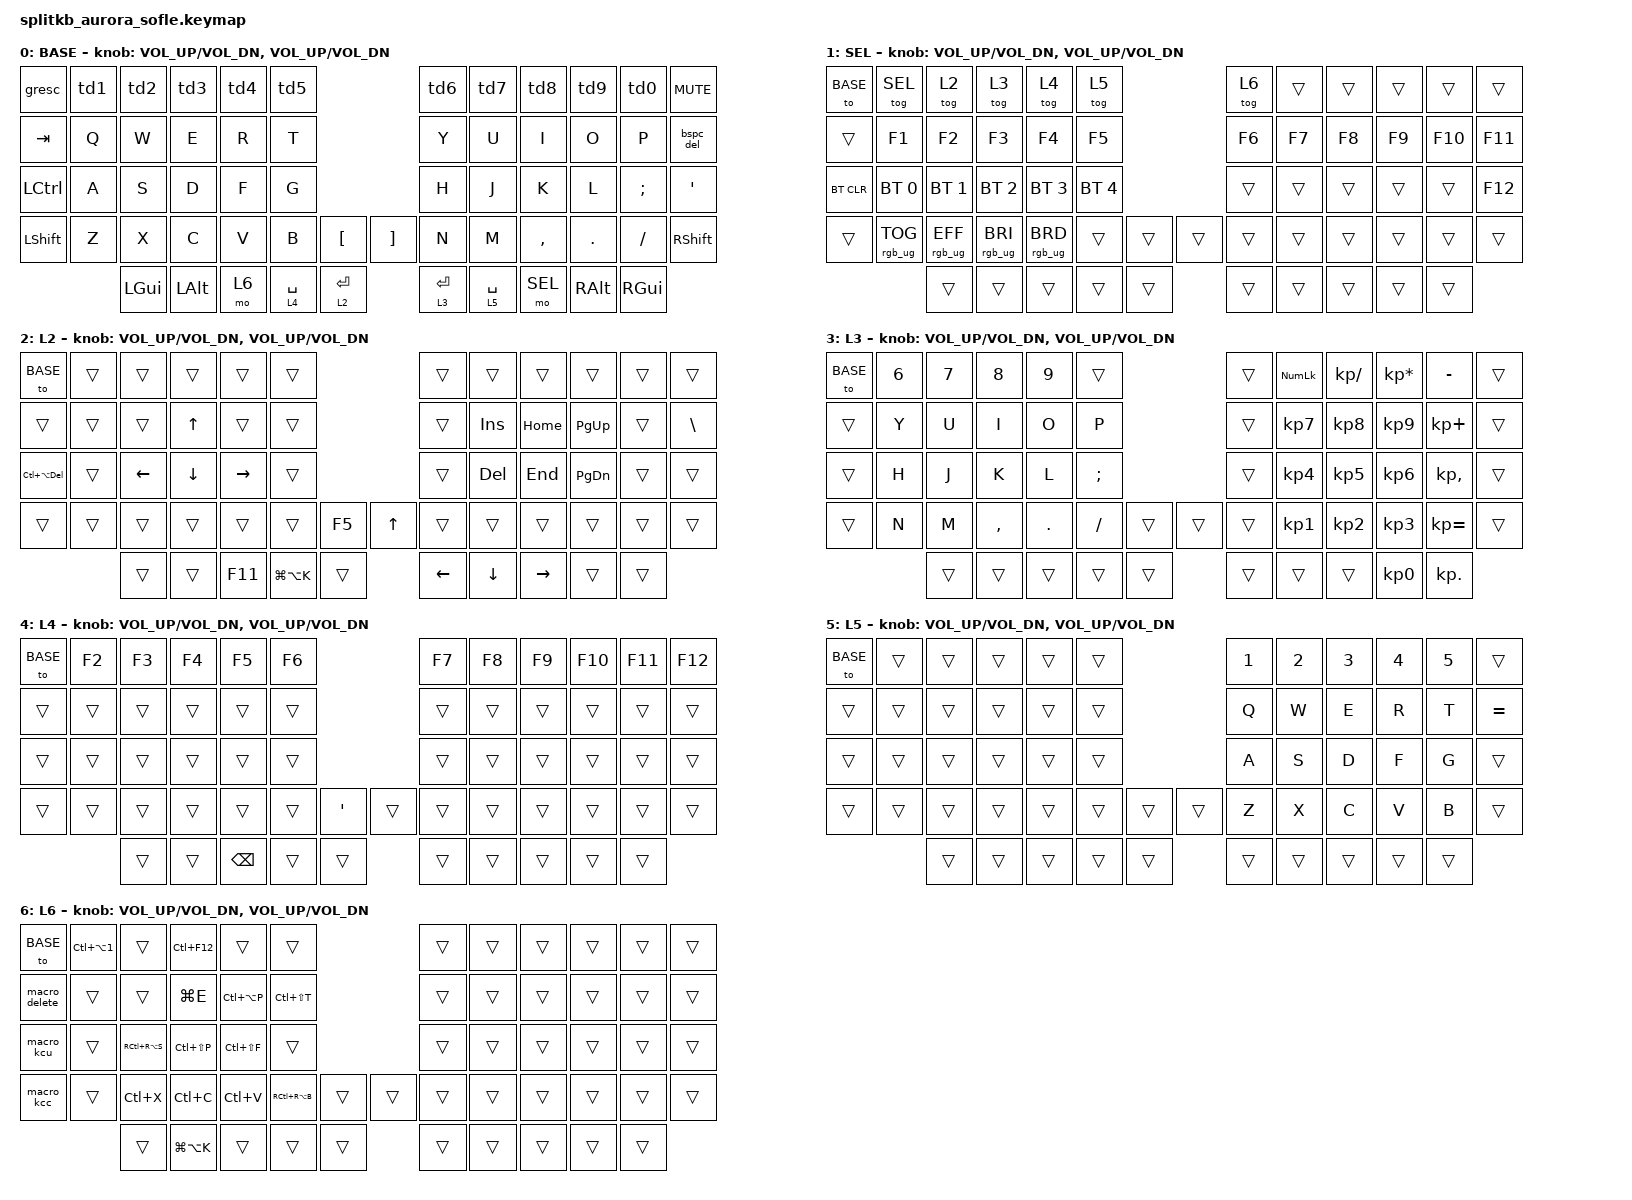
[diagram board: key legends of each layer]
/*
 * Copyright (c) 2023 The ZMK Contributors
 *
 * SPDX-License-Identifier: MIT
 *
 * splitkb.com Aurora Sofle - 7 layers, ported from the Elora Vial keymap.
 *
 * Thumb keys (outer to inner):
 *   left:  GUI  ALT  L6 (macros)  L4 (hold) / SPACE (tap)  L2 (hold) / ENTER (tap)
 *   right: L3 (hold) / ENTER (tap)  L5 (hold) / SPACE (tap)  SEL  RALT  RGUI
 *
 * Layers:
 *   L2 nav (ESDF arrows, home/end/page), L3 numpad + mirrored right-hand letters,
 *   L4 F-keys, L5 mirrored left-hand letters on the right hand, L6 macros/shortcuts.
 *   SEL (hold the right SEL thumb) holds BT profiles, RGB, F-keys, and &tog keys
 *   for L2-L6. Every non-base layer has &to BASE on its top-left key.
 *
 * Not ported: mouse buttons/accel and pointer overrides (no pointing device),
 * tap-dance shift/caps, encoder key overrides, extra bottom-row keys.
 */

#include <behaviors.dtsi>
#include <dt-bindings/zmk/keys.h>
#include <dt-bindings/zmk/bt.h>
#include <dt-bindings/zmk/ext_power.h>
#include <dt-bindings/zmk/rgb.h>

#define BASE 0
#define SEL  1
#define L2   2
#define L3   3
#define L4   4
#define L5   5
#define L6   6

/* Underglow LED chain length (per-key LEDs only). */
&led_strip {
    // chain-length = <6>;
    // chain-length = <35>; // Uncomment if using both per-key and underglow LEDs
    chain-length = <29>; // Uncomment if using only per-key LEDs.
};

/ {
    behaviors {
        td0: td_digit_0 { compatible = "zmk,behavior-tap-dance"; #binding-cells = <0>; tapping-term-ms = <200>; bindings = <&kp N0>, <&kp LS(N0)>; };
        td1: td_digit_1 { compatible = "zmk,behavior-tap-dance"; #binding-cells = <0>; tapping-term-ms = <200>; bindings = <&kp N1>, <&kp LS(N1)>; };
        td2: td_digit_2 { compatible = "zmk,behavior-tap-dance"; #binding-cells = <0>; tapping-term-ms = <200>; bindings = <&kp N2>, <&kp LS(N2)>; };
        td3: td_digit_3 { compatible = "zmk,behavior-tap-dance"; #binding-cells = <0>; tapping-term-ms = <200>; bindings = <&kp N3>, <&kp LS(N3)>; };
        td4: td_digit_4 { compatible = "zmk,behavior-tap-dance"; #binding-cells = <0>; tapping-term-ms = <200>; bindings = <&kp N4>, <&kp LS(N4)>; };
        td5: td_digit_5 { compatible = "zmk,behavior-tap-dance"; #binding-cells = <0>; tapping-term-ms = <200>; bindings = <&kp N5>, <&kp LS(N5)>; };
        td6: td_digit_6 { compatible = "zmk,behavior-tap-dance"; #binding-cells = <0>; tapping-term-ms = <200>; bindings = <&kp N6>, <&kp LS(N6)>; };
        td7: td_digit_7 { compatible = "zmk,behavior-tap-dance"; #binding-cells = <0>; tapping-term-ms = <200>; bindings = <&kp N7>, <&kp LS(N7)>; };
        td8: td_digit_8 { compatible = "zmk,behavior-tap-dance"; #binding-cells = <0>; tapping-term-ms = <200>; bindings = <&kp N8>, <&kp LS(N8)>; };
        td9: td_digit_9 { compatible = "zmk,behavior-tap-dance"; #binding-cells = <0>; tapping-term-ms = <200>; bindings = <&kp N9>, <&kp LS(N9)>; };

        bspc_del: bspc_del {
            compatible = "zmk,behavior-mod-morph";
            #binding-cells = <0>;
            bindings = <&kp BSPC>, <&kp DEL>;
            mods = <(MOD_LSFT|MOD_RSFT)>;
        };
    };

    macros {
        macro_select: macro_select {
            compatible = "zmk,behavior-macro";
            #binding-cells = <0>;
            wait-ms = <0>;
            tap-ms = <5>;
            bindings = <&macro_press &kp LSHFT>, <&macro_tap &kp S &kp E &kp L &kp E &kp C &kp T>, <&macro_release &kp LSHFT>, <&macro_tap &kp RET &kp LS(N8) &kp RET>, <&macro_press &kp LSHFT>, <&macro_tap &kp F &kp R &kp O &kp M>, <&macro_release &kp LSHFT>;
        };

        macro_delete: macro_delete {
            compatible = "zmk,behavior-macro";
            #binding-cells = <0>;
            wait-ms = <0>;
            tap-ms = <5>;
            bindings = <&macro_press &kp LSHFT>, <&macro_tap &kp D &kp E &kp L &kp E &kp T &kp E>, <&macro_release &kp LSHFT>, <&macro_tap &kp SPACE>;
        };

        macro_kcc: macro_kcc {
            compatible = "zmk,behavior-macro";
            #binding-cells = <0>;
            wait-ms = <50>;
            tap-ms = <50>;
            bindings = <&macro_press &kp LCTRL>, <&macro_tap &kp K &kp C>, <&macro_release &kp LCTRL>;
        };

        macro_kcu: macro_kcu {
            compatible = "zmk,behavior-macro";
            #binding-cells = <0>;
            wait-ms = <50>;
            tap-ms = <50>;
            bindings = <&macro_press &kp LCTRL>, <&macro_tap &kp K &kp U>, <&macro_release &kp LCTRL>;
        };
    };
};

/ {
    keymap {
        compatible = "zmk,keymap";

        base_layer {
            display-name = "BASE";
// ------------------------------------------------------------------------------------------------------------
// | GESC  | 1*  | 2*  | 3*   | 4*   | 5*   |                   | 6*   | 7*    | 8*    | 9*   | 0*    | MUTE  |
// |  TAB  |  Q  |  W  |  E   |  R   |  T   |                   |  Y   |  U    |  I    |  O   |   P   | BSPC  |
// |  CTRL |  A  |  S  |  D   |  F   |  G   |                   |  H   |  J    |  K    |  L   |   ;   |   '   |
// | SHIFT |  Z  |  X  |  C   |  V   |  B   |   "["  |  |  "]"  |  N   |  M    |  ,    |  .   |   /   | SHIFT |
//               | GUI | ALT  | L6   | L4/SPC | L2/RET |  | L3/RET | L5/SPC | SEL | RALT | RGUI |
// * tap = digit, double tap = shifted symbol. Shift + BSPC = DEL.
            bindings = <
&gresc    &td1   &td2    &td3    &td4    &td5                           &td6   &td7   &td8      &td9    &td0     &kp C_MUTE
&kp TAB   &kp Q  &kp W   &kp E   &kp R   &kp T                          &kp Y  &kp U  &kp I     &kp O   &kp P    &bspc_del
&kp LCTRL &kp A  &kp S   &kp D   &kp F   &kp G                          &kp H  &kp J  &kp K     &kp L   &kp SEMI &kp SQT
&kp LSHFT &kp Z  &kp X   &kp C   &kp V   &kp B  &kp LBKT    &kp RBKT    &kp N  &kp M  &kp COMMA &kp DOT &kp FSLH &kp RSHFT
                 &kp LGUI &kp LALT &mo L6 &lt L4 SPACE &lt L2 RET  &lt L3 RET &lt L5 SPACE &mo SEL &kp RALT &kp RGUI
            >;

            sensor-bindings = <&inc_dec_kp C_VOL_UP C_VOL_DN &inc_dec_kp C_VOL_UP C_VOL_DN>;
        };

        sel_layer {
            display-name = "SEL";
// Number row toggles a layer on/off. Home row = BT profiles. F-keys + RGB too.
            bindings = <
&to BASE   &tog SEL     &tog L2      &tog L3      &tog L4      &tog L5                          &tog L6 &trans   &trans   &trans   &trans   &trans
&trans     &kp F1       &kp F2       &kp F3       &kp F4       &kp F5                           &kp F6  &kp F7   &kp F8   &kp F9   &kp F10  &kp F11
&bt BT_CLR &bt BT_SEL 0 &bt BT_SEL 1 &bt BT_SEL 2 &bt BT_SEL 3 &bt BT_SEL 4                     &trans  &trans   &trans   &trans   &trans   &kp F12
&trans     &rgb_ug RGB_TOG &rgb_ug RGB_EFF &rgb_ug RGB_BRI &rgb_ug RGB_BRD &trans &trans &trans  &trans  &trans   &trans   &trans   &trans   &trans
                        &trans       &trans       &trans       &trans     &trans &trans  &trans  &trans   &trans   &trans
            >;

            sensor-bindings = <&inc_dec_kp C_VOL_UP C_VOL_DN &inc_dec_kp C_VOL_UP C_VOL_DN>;
        };

        l2_layer {
            display-name = "L2";
// Nav: ESDF arrows, INS/DEL/HOME/END/PGUP/PGDN on the right hand, inverted-T arrows on the right thumbs.
            bindings = <
&to BASE         &trans &trans   &trans    &trans    &trans                 &trans &trans      &trans    &trans    &trans &trans
&trans           &trans &trans   &kp UP    &trans    &trans                 &trans &kp INS     &kp HOME  &kp PG_UP &trans &kp BSLH
&kp LC(LA(DEL))  &trans &kp LEFT &kp DOWN  &kp RIGHT &trans                 &trans &kp DEL     &kp END   &kp PG_DN &trans &trans
&trans           &trans &trans   &trans    &trans    &trans &kp F5   &kp UP &trans &trans      &trans    &trans    &trans &trans
                        &trans   &trans    &kp F11   &kp LG(LA(K)) &trans   &kp LEFT &kp DOWN &kp RIGHT &trans &trans
            >;

            sensor-bindings = <&inc_dec_kp C_VOL_UP C_VOL_DN &inc_dec_kp C_VOL_UP C_VOL_DN>;
        };

        l3_layer {
            display-name = "L3";
// Left hand types the right-hand letters (6-9 on top); right hand is a numpad.
            bindings = <
&to BASE &kp N6 &kp N7 &kp N8    &kp N9  &trans                    &trans &kp KP_NUMLOCK &kp KP_SLASH &kp KP_MULTIPLY &kp MINUS   &trans
&trans   &kp Y  &kp U  &kp I     &kp O   &kp P                     &trans &kp KP_N7      &kp KP_N8    &kp KP_N9       &kp KP_PLUS &trans
&trans   &kp H  &kp J  &kp K     &kp L   &kp SEMI                  &trans &kp KP_N4      &kp KP_N5    &kp KP_N6       &kp KP_COMMA &trans
&trans   &kp N  &kp M  &kp COMMA &kp DOT &kp FSLH &trans    &trans  &trans &kp KP_N1      &kp KP_N2    &kp KP_N3       &kp KP_EQUAL &trans
                &trans &trans    &trans  &trans   &trans    &trans  &trans &trans         &kp KP_N0    &kp KP_DOT
            >;

            sensor-bindings = <&inc_dec_kp C_VOL_UP C_VOL_DN &inc_dec_kp C_VOL_UP C_VOL_DN>;
        };

        l4_layer {
            display-name = "L4";
// F1-F12 across the number row. Mouse buttons from the Elora are not ported.
            bindings = <
&to BASE &kp F2 &kp F3 &kp F4 &kp F5 &kp F6                 &kp F7 &kp F8 &kp F9 &kp F10 &kp F11 &kp F12
&trans   &trans &trans &trans &trans &trans                 &trans &trans &trans &trans  &trans  &trans
&trans   &trans &trans &trans &trans &trans                 &trans &trans &trans &trans  &trans  &trans
&trans   &trans &trans &trans &trans &trans &kp SQT  &trans &trans &trans &trans &trans  &trans  &trans
                &trans &trans &kp BSPC &trans &trans   &trans &trans &trans &trans &trans
            >;

            sensor-bindings = <&inc_dec_kp C_VOL_UP C_VOL_DN &inc_dec_kp C_VOL_UP C_VOL_DN>;
        };

        l5_layer {
            display-name = "L5";
// Left-hand letters mirrored onto the right hand.
            bindings = <
&to BASE &trans &trans &trans &trans &trans                 &kp N1 &kp N2 &kp N3 &kp N4 &kp N5 &trans
&trans   &trans &trans &trans &trans &trans                 &kp Q  &kp W  &kp E  &kp R  &kp T  &kp EQUAL
&trans   &trans &trans &trans &trans &trans                 &kp A  &kp S  &kp D  &kp F  &kp G  &trans
&trans   &trans &trans &trans &trans &trans &trans   &trans &kp Z  &kp X  &kp C  &kp V  &kp B  &trans
                &trans &trans &trans &trans &trans   &trans &trans &trans &trans &trans
            >;

            sensor-bindings = <&inc_dec_kp C_VOL_UP C_VOL_DN &inc_dec_kp C_VOL_UP C_VOL_DN>;
        };

        l6_layer {
            display-name = "L6";
// Macros and editor/IDE shortcuts (left hand).
            bindings = <
&to BASE       &kp LC(LA(N1)) &trans          &kp LC(F12)    &trans          &trans                 &trans &trans &trans &trans &trans &trans
&macro_delete  &trans         &trans          &kp LG(E)      &kp LC(LA(P))   &kp LC(LS(T))          &trans &trans &trans &trans &trans &trans
&macro_kcu     &trans         &kp RC(RA(S))   &kp LC(LS(P))  &kp LC(LS(F))   &trans                 &trans &trans &trans &trans &trans &trans
&macro_kcc     &trans         &kp LC(X)       &kp LC(C)      &kp LC(V)       &kp RC(RA(B)) &trans   &trans &trans &trans &trans &trans &trans &trans
                              &trans &kp LG(LA(K)) &trans &trans &trans   &trans &trans &trans &trans &trans
            >;

            sensor-bindings = <&inc_dec_kp C_VOL_UP C_VOL_DN &inc_dec_kp C_VOL_UP C_VOL_DN>;
        };
    };
};
